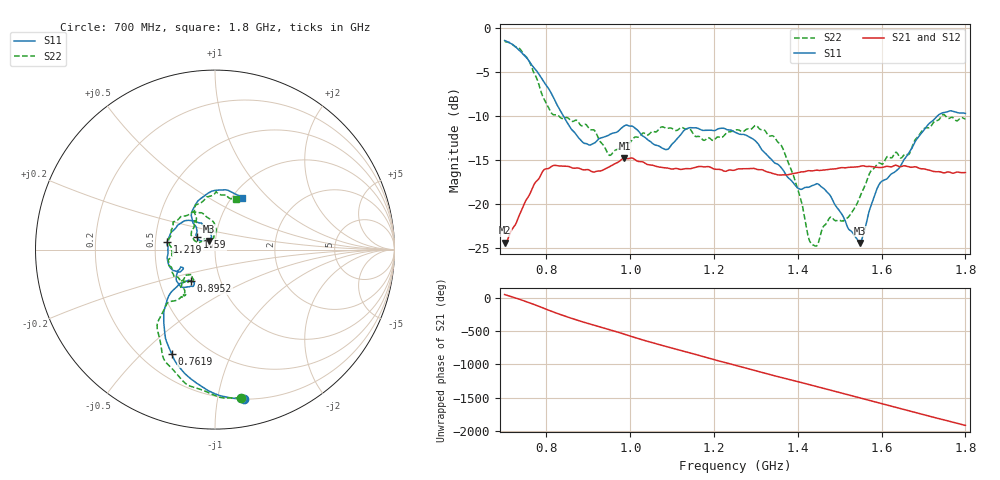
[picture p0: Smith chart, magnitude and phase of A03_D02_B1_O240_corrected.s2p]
! Created with skrf 1.9.0 (http://scikit-rf.org).
# Hz S RI R 50.0
!freq ReS11 ImS11 ReS21 ImS21 ReS12 ImS12 ReS22 ImS22
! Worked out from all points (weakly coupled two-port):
!   1601 points, 700 MHz to 1.8 GHz, reference 50 ohm
!   highest |S21| = -14.75 dB at 986 MHz (marker M1); lowest = -24.4 dB at 700.7 MHz (marker M2)
!   lowest |S11| = -24.4 dB at 1.548 GHz (marker M3), VSWR 1.13, Z = 46.4 + j4.52 ohm
!   |S11| at or under -10 dB: 840.2 MHz to 1.733 GHz (892.7 MHz wide, 69.4 % of centre)
!   |S22| runs from -24.8 to -1.5 dB; largest |S21 - S12| = 0.0035
!   S11 on the Smith chart (normalised r, x): 700 MHz: 0.20, -1.19; 761.9 MHz: 0.32, -0.62; 895.2 MHz: 0.72, -0.27; 1.219 GHz: 0.58, +0.05; 1.59 GHz: 0.81, +0.12; 1.8 GHz: 1.11, +0.72
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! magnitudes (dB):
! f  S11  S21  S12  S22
! 700 MHz  -1.4  -24.4  -24.2  -1.5
! 700.7 MHz  -1.4  -24.4  -24.1  -1.5
! 761.9 MHz  -4.0  -18.7  -18.6  -4.1
! 812.1 MHz  -7.5  -15.7  -15.7  -9.7
! 883.6 MHz  -12.8  -16.0  -15.9  -11.1
! 895.2 MHz  -13.1  -16.1  -16.2  -11.0
! 950.2 MHz  -12.1  -15.7  -15.8  -14.4
! 986 MHz  -11.1  -14.7  -14.8  -13.1
! 1.067 GHz  -13.4  -15.8  -15.7  -11.6
! 1.219 GHz  -11.4  -16.1  -16.2  -12.4
! 1.25 GHz  -11.8  -16.1  -16.0  -11.6
! 1.301 GHz  -12.9  -16.0  -16.0  -11.1
! 1.36 GHz  -15.8  -16.7  -16.7  -13.3
! 1.434 GHz  -17.9  -16.2  -16.2  -24.5
! 1.473 GHz  -18.8  -16.1  -16.1  -21.8
! 1.515 GHz  -22.2  -15.9  -15.8  -21.7
! 1.548 GHz  -24.4  -15.7  -15.7  -19.2
! 1.59 GHz  -18.2  -15.8  -15.8  -15.5
! 1.617 GHz  -16.9  -15.7  -15.7  -14.6
! 1.664 GHz  -14.3  -15.7  -15.7  -14.4
! 1.735 GHz  -9.9  -16.3  -16.4  -10.5
! 1.8 GHz  -9.7  -16.4  -16.4  -10.4
